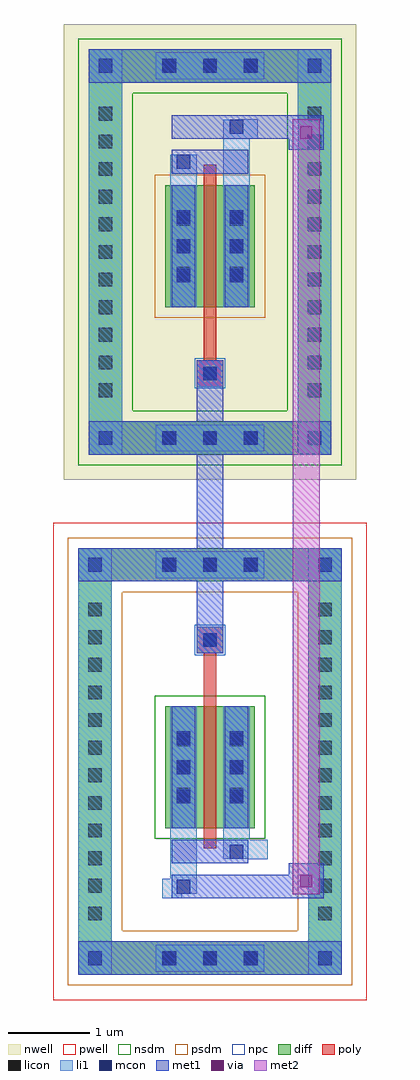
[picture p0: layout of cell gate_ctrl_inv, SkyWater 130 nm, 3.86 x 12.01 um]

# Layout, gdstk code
from math import pi, radians
import gdstk
lib = gdstk.Library(unit=1e-6, precision=5e-09)
def R(c, l, rs):  # rectangles x0, y0, x1, y1
    for r in rs: c.add(gdstk.rectangle(r[:2], r[2:], *l))
def A(c, l, x, y, w, h, nx, ny, dx, dy):  # array of equal rectangles
    R(c, l, [(x+i*dx, y+j*dy, x+i*dx+w, y+j*dy+h) for i in range(nx) for j in range(ny)])
def P(c, l, *ps):  # polygons
    for p in ps: c.add(gdstk.Polygon(p, *l))
nwell = (64, 20)
pwell = (64, 44)
diff = (65, 20)
poly = (66, 20)
licon = (66, 44)
li1 = (67, 20)
mcon = (67, 44)
met1 = (68, 20)
via = (68, 44)
met2 = (69, 20)
nsdm = (93, 44)
psdm = (94, 20)
npc = (95, 20)

pmos = lib.new_cell('pmos')
R(pmos, nwell, [(-1.8,-2.805,1.8,2.805)])
A(pmos, diff, -0.705, -2.495, 0.41, 0.41, 3, 2, 0.5, 4.58)
A(pmos, diff, -1.49, -1.905, 0.41, 0.41, 1, 11, 0, 0.34)
A(pmos, diff, 1.08, -1.905, 0.41, 0.41, 1, 11, 0, 0.34)
R(pmos, diff, [(-0.705,-2.495,0.705,-2.085), (-1.49,-1.905,-1.08,1.905), (1.08,-1.905,1.49,1.905), (-0.55,-0.68,0.55,0.82), (-0.705,2.085,0.705,2.495)])
P(pmos, diff, [(1.49,2.495),(-1.49,2.495),(-1.49,-2.085),(-1.08,-2.085),(-1.08,2.085),(1.08,2.085),(1.08,-2.085),(-1.08,-2.085),(-1.49,-2.085),(-1.49,-2.495),(1.49,-2.495)])
R(pmos, poly, [(-0.165,-1.66,0.165,-1.33), (-0.165,-1.66,0.165,-1.33), (-0.075,-1.33,0.075,-0.93), (-0.075,-0.93,0.075,1.07)])
A(pmos, licon, -0.585, -2.375, 0.17, 0.17, 3, 2, 0.5, 4.58)
A(pmos, licon, -1.37, -1.785, 0.17, 0.17, 1, 11, 0, 0.34)
A(pmos, licon, 1.2, -1.785, 0.17, 0.17, 1, 11, 0, 0.34)
A(pmos, licon, -0.41, -0.355, 0.17, 0.17, 1, 3, 0, 0.34)
A(pmos, licon, 0.24, -0.355, 0.17, 0.17, 1, 3, 0, 0.34)
R(pmos, licon, [(-0.085,-1.58,0.085,-1.41)])
A(pmos, li1, -0.665, -2.455, 0.33, 0.33, 3, 2, 0.5, 4.58)
A(pmos, li1, -1.45, -1.865, 0.33, 0.33, 1, 11, 0, 0.34)
A(pmos, li1, 1.12, -1.865, 0.33, 0.33, 1, 11, 0, 0.34)
A(pmos, li1, -0.49, -0.435, 0.33, 0.33, 1, 3, 0, 0.34)
A(pmos, li1, 0.16, -0.435, 0.33, 0.33, 1, 3, 0, 0.34)
A(pmos, li1, -0.41, -0.375, 0.17, 0.17, 1, 3, 0, 0.36)
A(pmos, li1, 0.24, -0.375, 0.17, 0.17, 1, 3, 0, 0.36)
R(pmos, li1, [(-1.49,-2.495,-1.08,-2.085), (1.08,-2.495,1.49,-2.085), (-0.665,-2.455,0.665,-2.125), (-1.37,-2.375,-1.2,-2.205), (-1.37,-2.375,-1.2,-2.205), (1.2,-2.375,1.37,-2.205), (1.2,-2.375,1.37,-2.205), (-1.49,-2.085,-1.08,2.085), (1.08,-2.085,1.49,2.085), (-0.165,-1.66,0.165,-1.33), (-0.49,-0.68,-0.16,0.82), (0.16,-0.68,0.49,0.82), (-0.41,-0.375,-0.24,0.515), (0.24,-0.375,0.41,0.515), (-0.49,0.82,-0.16,1.195), (0.16,0.82,0.49,1.625), (-0.41,1.025,-0.24,1.195), (0.24,1.455,0.41,1.625), (-1.49,2.085,-1.08,2.495), (1.08,2.085,1.49,2.495), (-0.665,2.125,0.665,2.455), (-1.37,2.205,-1.2,2.375), (-1.37,2.205,-1.2,2.375), (1.2,2.205,1.37,2.375), (1.2,2.205,1.37,2.375)])
A(pmos, mcon, -0.585, -2.375, 0.17, 0.17, 3, 2, 0.5, 4.58)
A(pmos, mcon, -0.41, -0.375, 0.17, 0.17, 1, 3, 0, 0.36)
A(pmos, mcon, 0.24, -0.375, 0.17, 0.17, 1, 3, 0, 0.36)
R(pmos, mcon, [(-1.37,-2.375,-1.2,-2.205), (1.2,-2.375,1.37,-2.205), (-0.085,-1.58,0.085,-1.41), (-0.41,1.025,-0.24,1.195), (0.24,1.455,0.41,1.625), (-1.37,2.205,-1.2,2.375), (1.2,2.205,1.37,2.375)])
A(pmos, met1, -0.645, -2.435, 0.29, 0.29, 3, 2, 0.5, 4.58)
A(pmos, met1, -0.47, -0.435, 0.29, 0.29, 1, 3, 0, 0.36)
A(pmos, met1, 0.18, -0.435, 0.29, 0.29, 1, 3, 0, 0.36)
R(pmos, met1, [(-1.49,-2.495,-1.08,-2.085), (-1.49,-2.495,-1.08,-2.085), (-1.08,-2.495,1.08,-2.085), (1.08,-2.495,1.49,-2.085), (1.08,-2.495,1.49,-2.085), (-1.43,-2.435,-1.14,-2.145), (1.14,-2.435,1.43,-2.145), (-0.165,-1.66,0.165,-1.33), (-0.145,-1.64,0.145,-1.35), (-0.47,-0.68,-0.18,0.82), (0.18,-0.68,0.47,0.82), (-0.47,0.965,-0.18,1.255), (-0.47,0.965,0.47,1.255), (-0.47,1.395,0.47,1.685), (0.18,1.395,0.47,1.685), (-1.49,2.085,-1.08,2.495), (-1.49,2.085,-1.08,2.495), (-1.08,2.085,1.08,2.495), (1.08,2.085,1.49,2.495), (1.08,2.085,1.49,2.495), (-1.43,2.145,-1.14,2.435), (1.14,2.145,1.43,2.435)])
P(pmos, nsdm, [(1.62,2.625),(-1.62,2.625),(-1.62,-1.955),(-0.95,-1.955),(-0.95,1.955),(0.95,1.955),(0.95,-1.955),(-0.95,-1.955),(-1.62,-1.955),(-1.62,-2.625),(1.62,-2.625)])
R(pmos, psdm, [(-0.68,-0.81,0.68,0.95)])
R(pmos, npc, [(-0.185,-1.68,0.185,-1.31), (-0.185,-1.68,0.185,-1.31)])

nmos = lib.new_cell('nmos')
R(nmos, pwell, [(-1.93,-2.935,1.93,2.935)])
A(nmos, diff, -0.705, -2.625, 0.41, 0.41, 3, 2, 0.5, 4.84)
A(nmos, diff, -1.62, -2.075, 0.41, 0.41, 1, 12, 0, 0.34)
A(nmos, diff, 1.21, -2.075, 0.41, 0.41, 1, 12, 0, 0.34)
R(nmos, diff, [(-0.705,-2.625,0.705,-2.215), (-1.62,-2.075,-1.21,2.075), (1.21,-2.075,1.62,2.075), (-0.55,-0.68,0.55,0.82), (-0.705,2.215,0.705,2.625)])
P(nmos, diff, [(1.62,2.625),(-1.62,2.625),(-1.62,-2.215),(-1.21,-2.215),(-1.21,2.215),(1.21,2.215),(1.21,-2.215),(-1.21,-2.215),(-1.62,-2.215),(-1.62,-2.625),(1.62,-2.625)])
R(nmos, poly, [(-0.165,-1.66,0.165,-1.33), (-0.165,-1.66,0.165,-1.33), (-0.075,-1.33,0.075,-0.93), (-0.075,-0.93,0.075,1.07)])
A(nmos, licon, -0.585, -2.505, 0.17, 0.17, 3, 2, 0.5, 4.84)
A(nmos, licon, -1.5, -1.955, 0.17, 0.17, 1, 12, 0, 0.34)
A(nmos, licon, 1.33, -1.955, 0.17, 0.17, 1, 12, 0, 0.34)
A(nmos, licon, -0.41, -0.355, 0.17, 0.17, 1, 3, 0, 0.34)
A(nmos, licon, 0.24, -0.355, 0.17, 0.17, 1, 3, 0, 0.34)
R(nmos, licon, [(-0.085,-1.58,0.085,-1.41)])
A(nmos, li1, -0.665, -2.585, 0.33, 0.33, 3, 2, 0.5, 4.84)
A(nmos, li1, -1.58, -2.035, 0.33, 0.33, 1, 12, 0, 0.34)
A(nmos, li1, 1.25, -2.035, 0.33, 0.33, 1, 12, 0, 0.34)
A(nmos, li1, -0.49, -0.435, 0.33, 0.33, 1, 3, 0, 0.34)
A(nmos, li1, 0.16, -0.435, 0.33, 0.33, 1, 3, 0, 0.34)
A(nmos, li1, -0.41, -0.375, 0.17, 0.17, 1, 3, 0, 0.36)
A(nmos, li1, 0.24, -0.375, 0.17, 0.17, 1, 3, 0, 0.36)
R(nmos, li1, [(-1.62,-2.625,-1.21,-2.215), (1.21,-2.625,1.62,-2.215), (-0.665,-2.585,0.665,-2.255), (-1.5,-2.505,-1.33,-2.335), (-1.5,-2.505,-1.33,-2.335), (1.33,-2.505,1.5,-2.335), (1.33,-2.505,1.5,-2.335), (-1.62,-2.215,-1.21,2.215), (1.21,-2.215,1.62,2.215), (-0.165,-1.66,0.165,-1.33), (-0.49,-0.68,-0.16,0.82), (0.16,-0.68,0.49,0.82), (-0.41,-0.375,-0.24,0.515), (0.24,-0.375,0.41,0.515), (-0.49,0.82,-0.16,1.195), (0.16,0.82,0.49,1.625), (-0.41,1.025,-0.24,1.195), (0.24,1.455,0.41,1.625), (-1.62,2.215,-1.21,2.625), (1.21,2.215,1.62,2.625), (-0.665,2.255,0.665,2.585), (-1.5,2.335,-1.33,2.505), (-1.5,2.335,-1.33,2.505), (1.33,2.335,1.5,2.505), (1.33,2.335,1.5,2.505)])
A(nmos, mcon, -0.585, -2.505, 0.17, 0.17, 3, 2, 0.5, 4.84)
A(nmos, mcon, -0.41, -0.375, 0.17, 0.17, 1, 3, 0, 0.36)
A(nmos, mcon, 0.24, -0.375, 0.17, 0.17, 1, 3, 0, 0.36)
R(nmos, mcon, [(-1.5,-2.505,-1.33,-2.335), (1.33,-2.505,1.5,-2.335), (-0.085,-1.58,0.085,-1.41), (-0.41,1.025,-0.24,1.195), (0.24,1.455,0.41,1.625), (-1.5,2.335,-1.33,2.505), (1.33,2.335,1.5,2.505)])
A(nmos, met1, -0.645, -2.565, 0.29, 0.29, 3, 2, 0.5, 4.84)
A(nmos, met1, -0.47, -0.435, 0.29, 0.29, 1, 3, 0, 0.36)
A(nmos, met1, 0.18, -0.435, 0.29, 0.29, 1, 3, 0, 0.36)
R(nmos, met1, [(-1.62,-2.625,-1.21,-2.215), (-1.62,-2.625,-1.21,-2.215), (-1.21,-2.625,1.21,-2.215), (1.21,-2.625,1.62,-2.215), (1.21,-2.625,1.62,-2.215), (-1.56,-2.565,-1.27,-2.275), (1.27,-2.565,1.56,-2.275), (-0.165,-1.66,0.165,-1.33), (-0.145,-1.64,0.145,-1.35), (-0.47,-0.68,-0.18,0.82), (0.18,-0.68,0.47,0.82), (-0.47,0.965,-0.18,1.255), (-0.47,0.965,0.47,1.255), (-0.47,1.395,0.47,1.685), (0.18,1.395,0.47,1.685), (-1.62,2.215,-1.21,2.625), (-1.62,2.215,-1.21,2.625), (-1.21,2.215,1.21,2.625), (1.21,2.215,1.62,2.625), (1.21,2.215,1.62,2.625), (-1.56,2.275,-1.27,2.565), (1.27,2.275,1.56,2.565)])
R(nmos, nsdm, [(-0.68,-0.81,0.68,0.95)])
P(nmos, psdm, [(1.75,2.755),(-1.75,2.755),(-1.75,-2.085),(-1.08,-2.085),(-1.08,2.085),(1.08,2.085),(1.08,-2.085),(-1.08,-2.085),(-1.75,-2.085),(-1.75,-2.755),(1.75,-2.755)])
R(nmos, npc, [(-0.185,-1.68,0.185,-1.31), (-0.185,-1.68,0.185,-1.31)])

c_route_4db5ba5d = lib.new_cell('c_route_4db5ba5d')
R(c_route_4db5ba5d, met1, [(0.47,-1.685,1.4,-1.395), (0.97,-1.685,1.4,-1.255), (0.97,7.525,1.4,7.955), (0.47,7.665,1.4,7.955)])
R(c_route_4db5ba5d, via, [(1.11,-1.545,1.26,-1.395), (1.11,7.665,1.26,7.815)])
R(c_route_4db5ba5d, met2, [(1.02,-1.635,1.35,-1.305), (1.02,-1.635,1.35,7.905), (1.02,7.575,1.35,7.905)])
P(c_route_4db5ba5d, met2, [(1.35,-1.635),(1.35,-1.635),(1.35,-1.305),(1.35,-1.305)],
  [(1.35,7.575),(1.35,7.575),(1.35,7.905),(1.35,7.905)])

straight_route_2a4784e9 = lib.new_cell('straight_route_2a4784e9')
R(straight_route_2a4784e9, met1, [(-0.165,1.66,0.165,4.61)])

compass_45394bd3_4 = lib.new_cell('compass_45394bd3$4')
R(compass_45394bd3_4, li1, [(-0.12,-0.12,0.12,0.12)])

unnamed_96281da7 = lib.new_cell('Unnamed_96281da7')
unnamed_96281da7.add(gdstk.Reference(compass_45394bd3_4, (0,0)))
unnamed_96281da7.add(gdstk.Label('A', (0,0), layer=67, texttype=5))

compass_45394bd3_5 = lib.new_cell('compass_45394bd3$5')
R(compass_45394bd3_5, li1, [(-0.12,-0.12,0.12,0.12)])

unnamed_70a60ef1 = lib.new_cell('Unnamed_70a60ef1')
unnamed_70a60ef1.add(gdstk.Reference(compass_45394bd3_5, (0,0)))
unnamed_70a60ef1.add(gdstk.Label('Y', (0,0), layer=67, texttype=5))

compass_45394bd3_6 = lib.new_cell('compass_45394bd3$6')
R(compass_45394bd3_6, li1, [(-0.12,-0.12,0.12,0.12)])

unnamed_f2858424 = lib.new_cell('Unnamed_f2858424')
unnamed_f2858424.add(gdstk.Reference(compass_45394bd3_6, (0,0)))
unnamed_f2858424.add(gdstk.Label('VDD', (0,0), layer=67, texttype=5))

compass_45394bd3_7 = lib.new_cell('compass_45394bd3$7')
R(compass_45394bd3_7, li1, [(-0.12,-0.12,0.12,0.12)])

unnamed_eb9e5385 = lib.new_cell('Unnamed_eb9e5385')
unnamed_eb9e5385.add(gdstk.Reference(compass_45394bd3_7, (0,0)))
unnamed_eb9e5385.add(gdstk.Label('VSS', (0,0), layer=67, texttype=5))

gate_ctrl_inv = lib.new_cell('gate_ctrl_inv')
gate_ctrl_inv.add(gdstk.Reference(pmos, (0,6.27)))
gate_ctrl_inv.add(gdstk.Reference(nmos, (0,0), rotation=pi))
gate_ctrl_inv.add(gdstk.Reference(c_route_4db5ba5d, (0,0)))
gate_ctrl_inv.add(gdstk.Reference(straight_route_2a4784e9, (0,0)))
gate_ctrl_inv.add(gdstk.Reference(unnamed_96281da7, (0,1.54)))
gate_ctrl_inv.add(gdstk.Reference(unnamed_70a60ef1, (-0.47,-1.565)))
gate_ctrl_inv.add(gdstk.Reference(unnamed_f2858424, (0.47,7.785)))
gate_ctrl_inv.add(gdstk.Reference(unnamed_eb9e5385, (0.59,-1.085)))

lib.write_gds('gate_ctrl_inv.gds')
